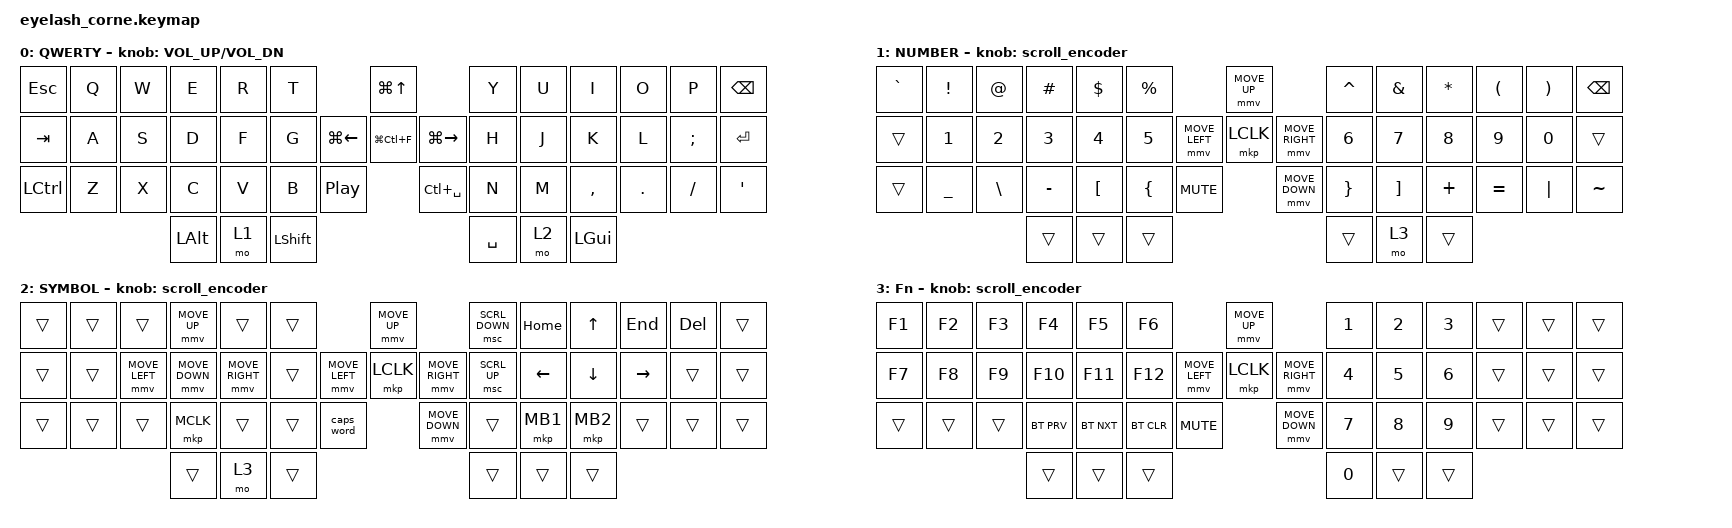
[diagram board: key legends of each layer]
#define ZMK_POINTING_DEFAULT_MOVE_VAL 1800  // 600
#define ZMK_POINTING_DEFAULT_SCRL_VAL 25   // 10

#include <input/processors.dtsi>
#include <zephyr/dt-bindings/input/input-event-codes.h>
#include <behaviors.dtsi>
#include <dt-bindings/zmk/bt.h>
#include <dt-bindings/zmk/keys.h>
#include <dt-bindings/zmk/pointing.h>
#include <dt-bindings/zmk/rgb.h>

&mmv_input_listener { input-processors = <&zip_xy_scaler 2 1>; };

&msc_input_listener { input-processors = <&zip_scroll_scaler 2 1>; };

&msc {
    acceleration-exponent = <1>;      // 0
    time-to-max-speed-ms = <100>;       // 300
    delay-ms = <0>;                   // 0
};

&mmv {
    time-to-max-speed-ms = <200>;
    acceleration-exponent = <1>;
    trigger-period-ms = <8>;
    delay-ms = <0>;
};

&soft_off { hold-time-ms = <2000>; };

/ {
    behaviors {
        td0: td0 {
            compatible = "zmk,behavior-tap-dance";
            display-name = "Shift/Caps Lock Tap Dance";
            #binding-cells = <0>;
            bindings = <&kp LEFT_SHIFT>, <&kp CAPS>;
        };
    };

    rgb_encoder: rgb_encoder {
        compatible = "zmk,behavior-sensor-rotate";
        #sensor-binding-cells = <0>;
        bindings = <&rgb_ug RGB_BRI>, <&rgb_ug RGB_BRD>;
    };

    scroll_encoder: scroll_encoder {
        compatible = "zmk,behavior-sensor-rotate";
        #sensor-binding-cells = <0>;
        bindings = <&msc SCRL_UP>, <&msc SCRL_DOWN>;

        tap-ms = <100>;
        label = "scroll";
    };

    combos {
        compatible = "zmk,combos";

        softoff {
            bindings = <&soft_off>;
            key-positions = <1 15 29>;
        };
    };

    keymap {
        compatible = "zmk,keymap";

        default_layer {
            display-name = "QWERTY";
            bindings = <
&kp ESC    &kp Q  &kp W  &kp E         &kp R  &kp T                                         &kp LG(UP)                    &kp Y      &kp U  &kp I         &kp O    &kp P     &kp BSPC
&kp TAB    &kp A  &kp S  &kp D         &kp F  &kp G                           &kp LG(LEFT)  &kp LG(LC(F))  &kp LG(RIGHT)  &kp H      &kp J  &kp K         &kp L    &kp SEMI  &kp ENTER
&kp LCTRL  &kp Z  &kp X  &kp C         &kp V  &kp B       &kp C_PLAY_PAUSE                  &kp LC(SPACE)                 &kp N      &kp M  &kp COMMA     &kp DOT  &kp FSLH  &kp SQT
                         &kp LEFT_ALT  &mo 1  &kp LSHIFT                                                                  &kp SPACE  &mo 2  &kp LEFT_GUI
            >;

            sensor-bindings = <&inc_dec_kp C_VOLUME_UP C_VOL_DN>;
        };

        lower_layer {
            display-name = "NUMBER";
            bindings = <
&kp GRAVE  &kp EXCLAMATION  &kp AT_SIGN    &kp HASH      &kp DOLLAR        &kp PERCENT                                   &mmv MOVE_UP                     &kp CARET        &kp AMPS           &kp ASTERISK  &kp LEFT_PARENTHESIS  &kp RIGHT_PARENTHESIS  &kp BSPC
&trans     &kp NUMBER_1     &kp NUMBER_2   &kp NUMBER_3  &kp NUMBER_4      &kp NUMBER_5                  &mmv MOVE_LEFT  &mkp LCLK       &mmv MOVE_RIGHT  &kp NUMBER_6     &kp NUMBER_7       &kp NUMBER_8  &kp NUMBER_9          &kp NUMBER_0           &trans
&trans     &kp UNDERSCORE   &kp BACKSLASH  &kp MINUS     &kp LEFT_BRACKET  &kp LEFT_BRACE  &kp C_MUTE                    &mmv MOVE_DOWN                   &kp RIGHT_BRACE  &kp RIGHT_BRACKET  &kp PLUS      &kp EQUAL             &kp PIPE               &kp TILDE
                                           &trans        &trans            &trans                                                                         &trans           &mo 3              &trans
            >;

            sensor-bindings = <&scroll_encoder>;
        };

        raise_layer {
            display-name = "SYMBOL";
            bindings = <
&trans  &trans  &trans          &mmv MOVE_UP    &trans           &trans                                &mmv MOVE_UP                     &msc SCRL_DOWN  &kp HOME        &kp UP_ARROW    &kp END          &kp DEL  &trans
&trans  &trans  &mmv MOVE_LEFT  &mmv MOVE_DOWN  &mmv MOVE_RIGHT  &trans                &mmv MOVE_LEFT  &mkp LCLK       &mmv MOVE_RIGHT  &msc SCRL_UP    &kp LEFT_ARROW  &kp DOWN_ARROW  &kp RIGHT_ARROW  &trans   &trans
&trans  &trans  &trans          &mkp MCLK       &trans           &trans  &caps_word                    &mmv MOVE_DOWN                   &trans          &mkp MB1        &mkp MB2        &trans           &trans   &trans
                                &trans          &mo 3            &trans                                                                 &trans          &trans          &trans
            >;

            sensor-bindings = <&scroll_encoder>;
        };

        layer_3 {
            display-name = "Fn";
            bindings = <
&kp F1  &kp F2  &kp F3  &kp F4      &kp F5      &kp F6                                    &mmv MOVE_UP                     &kp NUMBER_1  &kp NUMBER_2  &kp NUMBER_3  &trans  &trans  &trans
&kp F7  &kp F8  &kp F9  &kp F10     &kp F11     &kp F12                   &mmv MOVE_LEFT  &mkp LCLK       &mmv MOVE_RIGHT  &kp NUMBER_4  &kp N5        &kp NUMBER_6  &trans  &trans  &trans
&trans  &trans  &trans  &bt BT_PRV  &bt BT_NXT  &bt BT_CLR  &kp C_MUTE                    &mmv MOVE_DOWN                   &kp N7        &kp N8        &kp N9        &trans  &trans  &trans
                        &trans      &trans      &trans                                                                     &kp N0        &trans        &trans
            >;

            sensor-bindings = <&scroll_encoder>;
        };
    };
};
